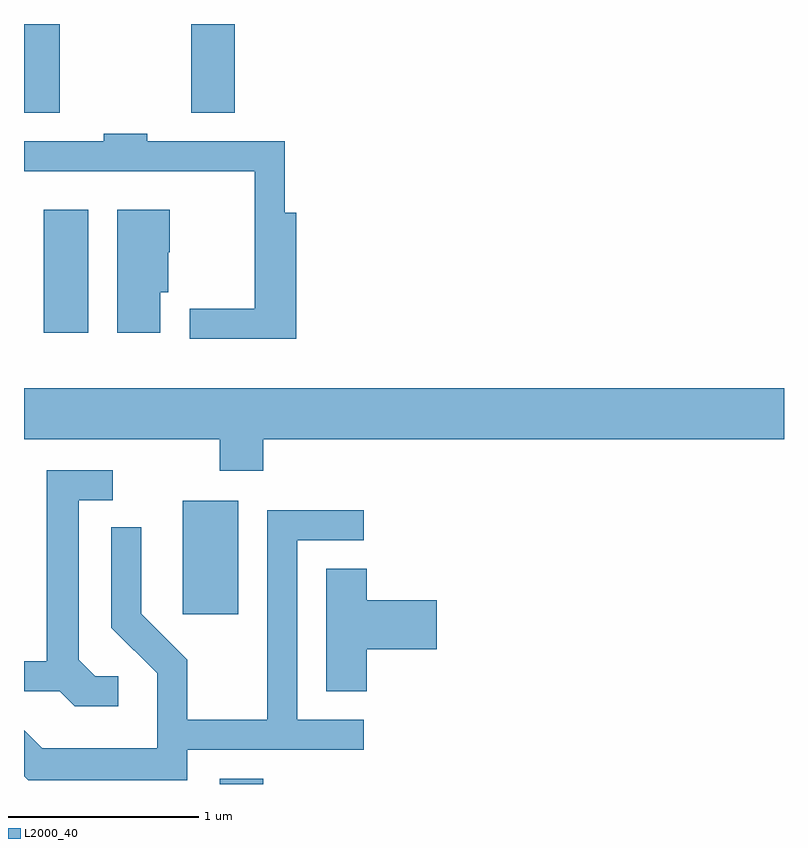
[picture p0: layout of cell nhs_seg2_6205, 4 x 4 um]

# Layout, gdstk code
import gdstk
lib = gdstk.Library(unit=1e-6, precision=1e-09)
def R(c, l, rs):  # rectangles x0, y0, x1, y1
    for r in rs: c.add(gdstk.rectangle(r[:2], r[2:], *l))
def P(c, l, *ps):  # polygons
    for p in ps: c.add(gdstk.Polygon(p, *l))
L2000_40 = (2000, 40)

nhs_seg2_6205 = lib.new_cell('nhs_seg2_6205')
R(nhs_seg2_6205, L2000_40, [(368.641,1079.802,368.869,1079.829), (368.446,1080.696,368.739,1081.294), (367.716,1082.176,367.949,1082.824), (367.611,1083.336,367.799,1083.802), (368.491,1083.336,368.719,1083.802)])
P(nhs_seg2_6205, L2000_40, [(369.044,1082.809),(368.984,1082.809),(368.984,1083.184),(368.259,1083.184),(368.259,1083.224),(368.031,1083.224),(368.031,1083.184),(367.611,1083.184),(367.611,1083.026),(368.826,1083.026),(368.826,1082.304),(368.483,1082.304),(368.483,1082.146),(369.044,1082.146)],
  [(368.329,1082.391),(368.369,1082.391),(368.369,1082.6),(368.379,1082.6),(368.379,1082.824),(368.101,1082.824),(368.101,1082.176),(368.329,1082.176)],
  [(368.869,1081.616),(371.611,1081.616),(371.611,1081.884),(367.611,1081.884),(367.611,1081.616),(368.641,1081.616),(368.641,1081.451),(368.869,1081.451)],
  [(368.108,1080.369),(367.987,1080.369),(367.899,1080.457),(367.899,1081.296),(368.078,1081.296),(368.078,1081.454),(367.731,1081.454),(367.731,1080.449),(367.611,1080.449),(367.611,1080.291),(367.799,1080.291),(367.879,1080.211),(368.108,1080.211)],
  [(368.469,1079.981),(369.398,1079.981),(369.398,1080.139),(369.049,1080.139),(369.049,1081.086),(369.398,1081.086),(369.398,1081.244),(368.891,1081.244),(368.891,1080.139),(368.469,1080.139),(368.469,1080.457),(368.229,1080.697),(368.229,1081.153),(368.071,1081.153),(368.071,1080.624),(368.311,1080.384),(368.311,1079.989),(367.707,1079.989),(367.611,1080.085),(367.611,1079.844),(367.634,1079.821),(368.469,1079.821)],
  [(369.414,1080.511),(369.784,1080.511),(369.784,1080.769),(369.414,1080.769),(369.414,1080.934),(369.201,1080.934),(369.201,1080.291),(369.414,1080.291)])

lib.write_gds('nhs_seg2_6205.gds')
